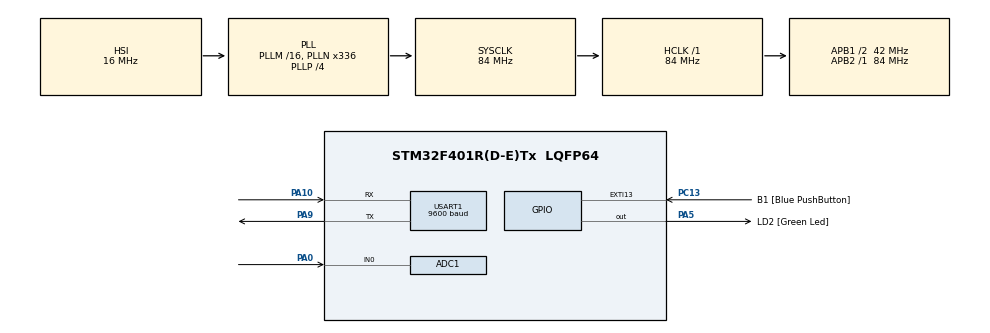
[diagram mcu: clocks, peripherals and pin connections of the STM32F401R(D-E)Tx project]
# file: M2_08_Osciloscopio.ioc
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ADC1.Channel-0\#ChannelRegularConversion=ADC_CHANNEL_0
ADC1.ContinuousConvMode=ENABLE
ADC1.DMAContinuousRequests=ENABLE
ADC1.DiscontinuousConvMode=DISABLE
ADC1.InjNumberOfConversion=0
ADC1.NbrOfConversionFlag=1
ADC1.Rank-0\#ChannelRegularConversion=1
ADC1.Resolution=ADC_RESOLUTION_12B
ADC1.SamplingTime-0\#ChannelRegularConversion=ADC_SAMPLETIME_84CYCLES
ADC1.ScanConvMode=ENABLE
ADC1.master=1
Dma.ADC1.0.Direction=DMA_PERIPH_TO_MEMORY
Dma.ADC1.0.FIFOMode=DMA_FIFOMODE_DISABLE
Dma.ADC1.0.Instance=DMA2_Stream0
Dma.ADC1.0.MemDataAlignment=DMA_MDATAALIGN_HALFWORD
Dma.ADC1.0.MemInc=DMA_MINC_ENABLE
Dma.ADC1.0.Mode=DMA_CIRCULAR
Dma.ADC1.0.PeriphDataAlignment=DMA_PDATAALIGN_HALFWORD
Dma.ADC1.0.PeriphInc=DMA_PINC_DISABLE
Dma.ADC1.0.Priority=DMA_PRIORITY_LOW
Dma.Request0=ADC1
Mcu.Family=STM32F4
Mcu.Name=STM32F401R(D-E)Tx
Mcu.Package=LQFP64
NVIC.DMA2_Stream0_IRQn=true\:0\:0\:false\:false\:true\:false\:true\:true
NVIC.PriorityGroup=NVIC_PRIORITYGROUP_4
NVIC.USART1_IRQn=true\:0\:0\:false\:false\:true\:true\:true\:true
PA0-WKUP.Signal=ADCx_IN0
PA10.Mode=Asynchronous
PA10.Signal=USART1_RX
PA13.GPIO_Label=TMS
PA13.Mode=Trace_Asynchronous_SW
PA13.Signal=SYS_JTMS-SWDIO
PA14.GPIO_Label=TCK
PA14.Mode=Trace_Asynchronous_SW
PA14.Signal=SYS_JTCK-SWCLK
PA2.GPIO_Label=USART_TX
PA2.GPIO_Mode=GPIO_MODE_AF_PP
PA2.GPIO_PuPd=GPIO_NOPULL
PA2.GPIO_Speed=GPIO_SPEED_FREQ_LOW
PA2.Signal=USART2_TX
PA3.GPIO_Label=USART_RX
PA3.GPIO_Mode=GPIO_MODE_AF_PP
PA3.GPIO_PuPd=GPIO_NOPULL
PA3.GPIO_Speed=GPIO_SPEED_FREQ_LOW
PA3.Signal=USART2_RX
PA5.GPIO_Label=LD2 [Green Led]
PA5.GPIO_Mode=GPIO_MODE_OUTPUT_PP
PA5.GPIO_PuPd=GPIO_NOPULL
PA5.GPIO_Speed=GPIO_SPEED_FREQ_LOW
PA5.Signal=GPIO_Output
PA9.Mode=Asynchronous
PA9.Signal=USART1_TX
PB3.GPIO_Label=SWO
PB3.Mode=Trace_Asynchronous_SW
PB3.Signal=SYS_JTDO-SWO
PC13-ANTI_TAMP.GPIO_Label=B1 [Blue PushButton]
PC13-ANTI_TAMP.GPIO_ModeDefaultEXTI=GPIO_MODE_IT_FALLING
PC13-ANTI_TAMP.GPIO_PuPd=GPIO_NOPULL
PC13-ANTI_TAMP.Signal=GPXTI13
PC14-OSC32_IN.Mode=LSE-External-Oscillator
PC14-OSC32_IN.Signal=RCC_OSC32_IN
PC15-OSC32_OUT.Mode=LSE-External-Oscillator
PC15-OSC32_OUT.Signal=RCC_OSC32_OUT
PH0\ -\ OSC_IN.Mode=HSE-External-Clock-Source
PH0\ -\ OSC_IN.Signal=RCC_OSC_IN
PH1\ -\ OSC_OUT.Mode=HSE-External-Clock-Source
PH1\ -\ OSC_OUT.Signal=RCC_OSC_OUT
ProjectManager.HeapSize=0x200
ProjectManager.StackSize=0x400
ProjectManager.TargetToolchain=STM32CubeIDE
RCC.48MHZClocksFreq_Value=48000000
RCC.AHBFreq_Value=84000000
RCC.APB1CLKDivider=RCC_HCLK_DIV2
RCC.APB1Freq_Value=42000000
RCC.APB1TimFreq_Value=84000000
RCC.APB2Freq_Value=84000000
RCC.APB2TimFreq_Value=84000000
RCC.CortexFreq_Value=84000000
RCC.HCLKFreq_Value=84000000
RCC.HSE_VALUE=8000000
RCC.HSI_VALUE=16000000
RCC.PLLN=336
RCC.PLLP=RCC_PLLP_DIV4
RCC.PLLQ=7
RCC.SYSCLKFreq_VALUE=84000000
RCC.SYSCLKSource=RCC_SYSCLKSOURCE_PLLCLK
RCC.VCOOutputFreq_Value=336000000
SH.ADCx_IN0.0=ADC1_IN0,IN0
USART1.BaudRate=9600
USART1.VirtualMode=VM_ASYNC
board=NUCLEO-F401RE

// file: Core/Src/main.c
/* USER CODE BEGIN Header */
/**
  ******************************************************************************
  * @file           : main.c
  * @brief          : Main program body
  ******************************************************************************
  * @attention
  *
  * Copyright (c) 2025 STMicroelectronics.
  * All rights reserved.
  *
  * This software is licensed under terms that can be found in the LICENSE file
  * in the root directory of this software component.
  * If no LICENSE file comes with this software, it is provided AS-IS.
  *
  ******************************************************************************
  */
/* USER CODE END Header */
#include "main.h"

/* USER CODE BEGIN Includes */
#include "string.h"
#include "stdio.h"

/* USER CODE END Includes */

ADC_HandleTypeDef hadc1;
DMA_HandleTypeDef hdma_adc1;

UART_HandleTypeDef huart1;

/* USER CODE BEGIN PV */
uint8_t rxBuffer[10]; // Buffer de recepción
/* USER CODE END PV */

void SystemClock_Config(void);
static void MX_GPIO_Init(void);
static void MX_DMA_Init(void);
static void MX_ADC1_Init(void);
static void MX_USART1_UART_Init(void);

/* USER CODE BEGIN 0 */
void receiveCommand() {
    uint8_t tempByte;
    uint8_t index = 0;

    // Leer hasta encontrar un salto de línea o llenar el buffer
    while (index < sizeof(rxBuffer) - 1) {
        if (HAL_UART_Receive(&huart1, &tempByte, 1, 100) == HAL_OK) {
            if (tempByte == '\n' || tempByte == '\r') {
                break; // Final de comando
            }
            rxBuffer[index++] = tempByte;
        } else {
            break; // Si hay timeout, salir del bucle
        }
    }

    rxBuffer[index] = '\0'; // Asegurar terminación de string
}

/* USER CODE END 0 */

int main(void)
{

  /* MCU Configuration--------------------------------------------------------*/

  /* Reset of all peripherals, Initializes the Flash interface and the Systick. */
  HAL_Init();

  /* Configure the system clock */
  SystemClock_Config();

  /* Initialize all configured peripherals */
  MX_GPIO_Init();
  MX_DMA_Init();
  MX_ADC1_Init();
  MX_USART1_UART_Init();
  /* USER CODE BEGIN 2 */
  uint16_t adc_values[1];
  char buffer[20];
  char tempBuffer[10];
  int tiempo = -1;
  HAL_ADC_Start_DMA(&hadc1, (uint32_t*)adc_values, 1);
  /* USER CODE END 2 */

  /* Infinite loop */
  /* USER CODE BEGIN WHILE */
  while (1)
  {
	  receiveCommand();
	  tiempo = atoi((char *)rxBuffer); // Convertir el buffer a número

	  if (tiempo == 0) tiempo = -1;

	  while (tiempo != -1) {
		  float voltage = (adc_values[0] * 3.3) / 4095.0;
		      sprintf(buffer, "Voltage: %.2f V\r\n", voltage);
		      HAL_UART_Transmit(&huart1, (uint8_t*)buffer, strlen(buffer), HAL_MAX_DELAY);

		      HAL_Delay(tiempo);

		      receiveCommand();
		      strcpy(tempBuffer, (char*)rxBuffer);  // Guardamos en buffer temporal
		      int newTime = atoi(tempBuffer);       // Convertimos a entero

		      if (newTime > 0 || newTime == -1) {  // Solo actualizamos si es un valor válido
		          tiempo = newTime;
		      }
	  }
    /* USER CODE END WHILE */

  }
}

void SystemClock_Config(void)
{
  RCC_OscInitTypeDef RCC_OscInitStruct = {0};
  RCC_ClkInitTypeDef RCC_ClkInitStruct = {0};

  /** Configure the main internal regulator output voltage
  */
  __HAL_RCC_PWR_CLK_ENABLE();
  __HAL_PWR_VOLTAGESCALING_CONFIG(PWR_REGULATOR_VOLTAGE_SCALE2);

  /** Initializes the RCC Oscillators according to the specified parameters
  * in the RCC_OscInitTypeDef structure.
  */
  RCC_OscInitStruct.OscillatorType = RCC_OSCILLATORTYPE_HSI;
  RCC_OscInitStruct.HSIState = RCC_HSI_ON;
  RCC_OscInitStruct.HSICalibrationValue = RCC_HSICALIBRATION_DEFAULT;
  RCC_OscInitStruct.PLL.PLLState = RCC_PLL_ON;
  RCC_OscInitStruct.PLL.PLLSource = RCC_PLLSOURCE_HSI;
  RCC_OscInitStruct.PLL.PLLM = 16;
  RCC_OscInitStruct.PLL.PLLN = 336;
  RCC_OscInitStruct.PLL.PLLP = RCC_PLLP_DIV4;
  RCC_OscInitStruct.PLL.PLLQ = 7;
  if (HAL_RCC_OscConfig(&RCC_OscInitStruct) != HAL_OK)
  {
    Error_Handler();
  }

  /** Initializes the CPU, AHB and APB buses clocks
  */
  RCC_ClkInitStruct.ClockType = RCC_CLOCKTYPE_HCLK|RCC_CLOCKTYPE_SYSCLK
                              |RCC_CLOCKTYPE_PCLK1|RCC_CLOCKTYPE_PCLK2;
  RCC_ClkInitStruct.SYSCLKSource = RCC_SYSCLKSOURCE_PLLCLK;
  RCC_ClkInitStruct.AHBCLKDivider = RCC_SYSCLK_DIV1;
  RCC_ClkInitStruct.APB1CLKDivider = RCC_HCLK_DIV2;
  RCC_ClkInitStruct.APB2CLKDivider = RCC_HCLK_DIV1;

  if (HAL_RCC_ClockConfig(&RCC_ClkInitStruct, FLASH_LATENCY_2) != HAL_OK)
  {
    Error_Handler();
  }
}

static void MX_ADC1_Init(void)
{

  ADC_ChannelConfTypeDef sConfig = {0};

  /** Configure the global features of the ADC (Clock, Resolution, Data Alignment and number of conversion)
  */
  hadc1.Instance = ADC1;
  hadc1.Init.ClockPrescaler = ADC_CLOCK_SYNC_PCLK_DIV4;
  hadc1.Init.Resolution = ADC_RESOLUTION_12B;
  hadc1.Init.ScanConvMode = ENABLE;
  hadc1.Init.ContinuousConvMode = ENABLE;
  hadc1.Init.DiscontinuousConvMode = DISABLE;
  hadc1.Init.ExternalTrigConvEdge = ADC_EXTERNALTRIGCONVEDGE_NONE;
  hadc1.Init.ExternalTrigConv = ADC_SOFTWARE_START;
  hadc1.Init.DataAlign = ADC_DATAALIGN_RIGHT;
  hadc1.Init.NbrOfConversion = 1;
  hadc1.Init.DMAContinuousRequests = ENABLE;
  hadc1.Init.EOCSelection = ADC_EOC_SINGLE_CONV;
  if (HAL_ADC_Init(&hadc1) != HAL_OK)
  {
    Error_Handler();
  }

  /** Configure for the selected ADC regular channel its corresponding rank in the sequencer and its sample time.
  */
  sConfig.Channel = ADC_CHANNEL_0;
  sConfig.Rank = 1;
  sConfig.SamplingTime = ADC_SAMPLETIME_84CYCLES;
  if (HAL_ADC_ConfigChannel(&hadc1, &sConfig) != HAL_OK)
  {
    Error_Handler();
  }

}

static void MX_USART1_UART_Init(void)
{

  huart1.Instance = USART1;
  huart1.Init.BaudRate = 9600;
  huart1.Init.WordLength = UART_WORDLENGTH_8B;
  huart1.Init.StopBits = UART_STOPBITS_1;
  huart1.Init.Parity = UART_PARITY_NONE;
  huart1.Init.Mode = UART_MODE_TX_RX;
  huart1.Init.HwFlowCtl = UART_HWCONTROL_NONE;
  huart1.Init.OverSampling = UART_OVERSAMPLING_16;
  if (HAL_UART_Init(&huart1) != HAL_OK)
  {
    Error_Handler();
  }

}

static void MX_DMA_Init(void)
{

  /* DMA controller clock enable */
  __HAL_RCC_DMA2_CLK_ENABLE();

  /* DMA interrupt init */
  /* DMA2_Stream0_IRQn interrupt configuration */
  HAL_NVIC_SetPriority(DMA2_Stream0_IRQn, 0, 0);
  HAL_NVIC_EnableIRQ(DMA2_Stream0_IRQn);

}

static void MX_GPIO_Init(void)
{
  GPIO_InitTypeDef GPIO_InitStruct = {0};

  /* GPIO Ports Clock Enable */
  __HAL_RCC_GPIOC_CLK_ENABLE();
  __HAL_RCC_GPIOH_CLK_ENABLE();
  __HAL_RCC_GPIOA_CLK_ENABLE();
  __HAL_RCC_GPIOB_CLK_ENABLE();

  /*Configure GPIO pin Output Level */
  HAL_GPIO_WritePin(LD2_GPIO_Port, LD2_Pin, GPIO_PIN_RESET);

  /*Configure GPIO pin : B1_Pin */
  GPIO_InitStruct.Pin = B1_Pin;
  GPIO_InitStruct.Mode = GPIO_MODE_IT_FALLING;
  GPIO_InitStruct.Pull = GPIO_NOPULL;
  HAL_GPIO_Init(B1_GPIO_Port, &GPIO_InitStruct);

  /*Configure GPIO pins : USART_TX_Pin USART_RX_Pin */
  GPIO_InitStruct.Pin = USART_TX_Pin|USART_RX_Pin;
  GPIO_InitStruct.Mode = GPIO_MODE_AF_PP;
  GPIO_InitStruct.Pull = GPIO_NOPULL;
  GPIO_InitStruct.Speed = GPIO_SPEED_FREQ_LOW;
  GPIO_InitStruct.Alternate = GPIO_AF7_USART2;
  HAL_GPIO_Init(GPIOA, &GPIO_InitStruct);

  /*Configure GPIO pin : LD2_Pin */
  GPIO_InitStruct.Pin = LD2_Pin;
  GPIO_InitStruct.Mode = GPIO_MODE_OUTPUT_PP;
  GPIO_InitStruct.Pull = GPIO_NOPULL;
  GPIO_InitStruct.Speed = GPIO_SPEED_FREQ_LOW;
  HAL_GPIO_Init(LD2_GPIO_Port, &GPIO_InitStruct);

}

void Error_Handler(void)
{
  __disable_irq();
  while (1)
  {
  }
}
